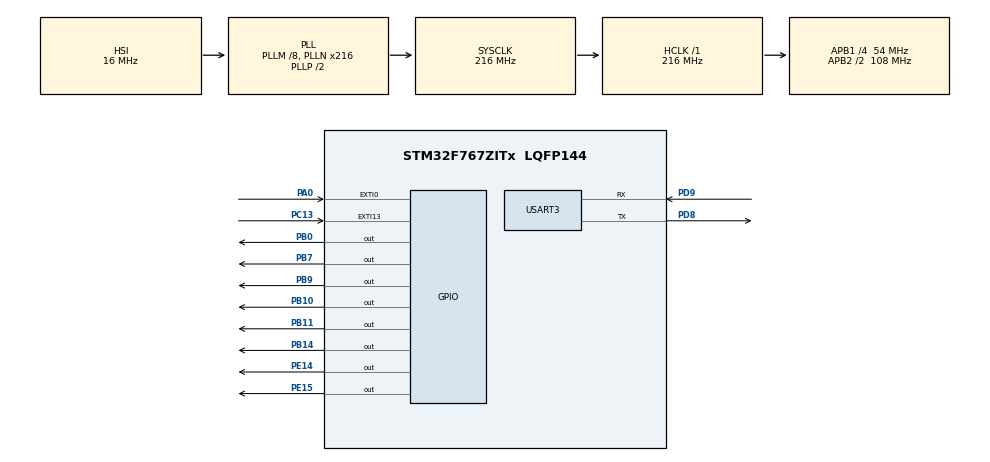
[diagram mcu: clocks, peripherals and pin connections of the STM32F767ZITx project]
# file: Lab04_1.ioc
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Mcu.Family=STM32F7
Mcu.Name=STM32F767ZITx
Mcu.Package=LQFP144
NVIC.EXTI0_IRQn=true\:2\:0\:true\:false\:true\:true\:true\:true
NVIC.EXTI15_10_IRQn=true\:2\:2\:true\:false\:true\:true\:true\:true
NVIC.PriorityGroup=NVIC_PRIORITYGROUP_2
NVIC.USART3_IRQn=true\:0\:0\:false\:false\:true\:true\:true\:true
PA0/WKUP.GPIO_ModeDefaultEXTI=GPIO_MODE_IT_RISING
PA0/WKUP.Signal=GPXTI0
PB0.PinState=GPIO_PIN_RESET
PB0.Signal=GPIO_Output
PB10.PinState=GPIO_PIN_RESET
PB10.Signal=GPIO_Output
PB11.GPIO_ModeDefaultOutputPP=GPIO_MODE_OUTPUT_PP
PB11.Signal=GPIO_Output
PB14.PinState=GPIO_PIN_RESET
PB14.Signal=GPIO_Output
PB7.PinState=GPIO_PIN_RESET
PB7.Signal=GPIO_Output
PB9.PinState=GPIO_PIN_RESET
PB9.Signal=GPIO_Output
PC13.GPIO_ModeDefaultEXTI=GPIO_MODE_IT_RISING
PC13.GPIO_PuPd=GPIO_NOPULL
PC13.Signal=GPXTI13
PD8.GPIO_ModeDefaultPP=GPIO_MODE_AF_PP
PD8.Mode=Asynchronous
PD8.Signal=USART3_TX
PD9.GPIO_Speed=GPIO_SPEED_FREQ_VERY_HIGH
PD9.Mode=Asynchronous
PD9.Signal=USART3_RX
PE14.Signal=GPIO_Output
PE15.Signal=GPIO_Output
ProjectManager.HeapSize=0x200
ProjectManager.StackSize=0x400
ProjectManager.TargetToolchain=STM32CubeIDE
RCC.AHBFreq_Value=216000000
RCC.APB1CLKDivider=RCC_HCLK_DIV4
RCC.APB1Freq_Value=54000000
RCC.APB1TimFreq_Value=108000000
RCC.APB2CLKDivider=RCC_HCLK_DIV2
RCC.APB2Freq_Value=108000000
RCC.APB2TimFreq_Value=216000000
RCC.CortexFreq_Value=216000000
RCC.HCLKFreq_Value=216000000
RCC.HSE_VALUE=25000000
RCC.HSI_VALUE=16000000
RCC.LSE_VALUE=32768
RCC.PLLM=8
RCC.PLLN=216
RCC.SYSCLKFreq_VALUE=216000000
RCC.SYSCLKSource=RCC_SYSCLKSOURCE_PLLCLK
RCC.USBFreq_Value=216000000
RCC.VCOOutputFreq_Value=432000000
USART3.VirtualMode-Asynchronous=VM_ASYNC
board=custom

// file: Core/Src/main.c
/* USER CODE BEGIN Header */
/**
 ******************************************************************************
 * @file           : main.c
 * @brief          : Main program body
 ******************************************************************************
 * @attention
 *
 * Copyright (c) 2023 STMicroelectronics.
 * All rights reserved.
 *
 * This software is licensed under terms that can be found in the LICENSE file
 * in the root directory of this software component.
 * If no LICENSE file comes with this software, it is provided AS-IS.
 *
 ******************************************************************************
 */
/* USER CODE END Header */
#include "main.h"

UART_HandleTypeDef huart3;

void SystemClock_Config(void);
static void MX_GPIO_Init(void);
static void MX_USART3_UART_Init(void);

int main(void)
{

  /* MCU Configuration--------------------------------------------------------*/

  /* Reset of all peripherals, Initializes the Flash interface and the Systick. */
  HAL_Init();

  /* Configure the system clock */
  SystemClock_Config();

  /* Initialize all configured peripherals */
  MX_GPIO_Init();
  MX_USART3_UART_Init();

  /* Infinite loop */
  /* USER CODE BEGIN WHILE */
	while (1) {
		while (__HAL_UART_GET_FLAG(&huart3, UART_FLAG_TC) == RESET) {
		}
		HAL_UART_Transmit(&huart3, (uint8_t*) ".", 1, 100);
		HAL_Delay(400);
    /* USER CODE END WHILE */

	}
}

void SystemClock_Config(void)
{
  RCC_OscInitTypeDef RCC_OscInitStruct = {0};
  RCC_ClkInitTypeDef RCC_ClkInitStruct = {0};

  /** Configure the main internal regulator output voltage
  */
  __HAL_RCC_PWR_CLK_ENABLE();
  __HAL_PWR_VOLTAGESCALING_CONFIG(PWR_REGULATOR_VOLTAGE_SCALE1);

  /** Initializes the RCC Oscillators according to the specified parameters
  * in the RCC_OscInitTypeDef structure.
  */
  RCC_OscInitStruct.OscillatorType = RCC_OSCILLATORTYPE_HSI;
  RCC_OscInitStruct.HSIState = RCC_HSI_ON;
  RCC_OscInitStruct.HSICalibrationValue = RCC_HSICALIBRATION_DEFAULT;
  RCC_OscInitStruct.PLL.PLLState = RCC_PLL_ON;
  RCC_OscInitStruct.PLL.PLLSource = RCC_PLLSOURCE_HSI;
  RCC_OscInitStruct.PLL.PLLM = 8;
  RCC_OscInitStruct.PLL.PLLN = 216;
  RCC_OscInitStruct.PLL.PLLP = RCC_PLLP_DIV2;
  RCC_OscInitStruct.PLL.PLLQ = 2;
  RCC_OscInitStruct.PLL.PLLR = 2;
  if (HAL_RCC_OscConfig(&RCC_OscInitStruct) != HAL_OK)
  {
    Error_Handler();
  }

  /** Activate the Over-Drive mode
  */
  if (HAL_PWREx_EnableOverDrive() != HAL_OK)
  {
    Error_Handler();
  }

  /** Initializes the CPU, AHB and APB buses clocks
  */
  RCC_ClkInitStruct.ClockType = RCC_CLOCKTYPE_HCLK|RCC_CLOCKTYPE_SYSCLK
                              |RCC_CLOCKTYPE_PCLK1|RCC_CLOCKTYPE_PCLK2;
  RCC_ClkInitStruct.SYSCLKSource = RCC_SYSCLKSOURCE_PLLCLK;
  RCC_ClkInitStruct.AHBCLKDivider = RCC_SYSCLK_DIV1;
  RCC_ClkInitStruct.APB1CLKDivider = RCC_HCLK_DIV4;
  RCC_ClkInitStruct.APB2CLKDivider = RCC_HCLK_DIV2;

  if (HAL_RCC_ClockConfig(&RCC_ClkInitStruct, FLASH_LATENCY_7) != HAL_OK)
  {
    Error_Handler();
  }
}

static void MX_USART3_UART_Init(void)
{

  huart3.Instance = USART3;
  huart3.Init.BaudRate = 115200;
  huart3.Init.WordLength = UART_WORDLENGTH_8B;
  huart3.Init.StopBits = UART_STOPBITS_1;
  huart3.Init.Parity = UART_PARITY_NONE;
  huart3.Init.Mode = UART_MODE_TX_RX;
  huart3.Init.HwFlowCtl = UART_HWCONTROL_NONE;
  huart3.Init.OverSampling = UART_OVERSAMPLING_16;
  huart3.Init.OneBitSampling = UART_ONE_BIT_SAMPLE_DISABLE;
  huart3.AdvancedInit.AdvFeatureInit = UART_ADVFEATURE_NO_INIT;
  if (HAL_UART_Init(&huart3) != HAL_OK)
  {
    Error_Handler();
  }

}

static void MX_GPIO_Init(void)
{
  GPIO_InitTypeDef GPIO_InitStruct = {0};

  /* GPIO Ports Clock Enable */
  __HAL_RCC_GPIOC_CLK_ENABLE();
  __HAL_RCC_GPIOA_CLK_ENABLE();
  __HAL_RCC_GPIOB_CLK_ENABLE();
  __HAL_RCC_GPIOE_CLK_ENABLE();
  __HAL_RCC_GPIOD_CLK_ENABLE();

  /*Configure GPIO pin Output Level */
  HAL_GPIO_WritePin(GPIOB, GPIO_PIN_0|GPIO_PIN_10|GPIO_PIN_11|GPIO_PIN_14
                          |GPIO_PIN_7|GPIO_PIN_9, GPIO_PIN_RESET);

  /*Configure GPIO pin Output Level */
  HAL_GPIO_WritePin(GPIOE, GPIO_PIN_14|GPIO_PIN_15, GPIO_PIN_RESET);

  /*Configure GPIO pin : PC13 */
  GPIO_InitStruct.Pin = GPIO_PIN_13;
  GPIO_InitStruct.Mode = GPIO_MODE_IT_RISING;
  GPIO_InitStruct.Pull = GPIO_NOPULL;
  HAL_GPIO_Init(GPIOC, &GPIO_InitStruct);

  /*Configure GPIO pin : PA0 */
  GPIO_InitStruct.Pin = GPIO_PIN_0;
  GPIO_InitStruct.Mode = GPIO_MODE_IT_RISING;
  GPIO_InitStruct.Pull = GPIO_NOPULL;
  HAL_GPIO_Init(GPIOA, &GPIO_InitStruct);

  /*Configure GPIO pins : PB0 PB10 PB11 PB14
                           PB7 PB9 */
  GPIO_InitStruct.Pin = GPIO_PIN_0|GPIO_PIN_10|GPIO_PIN_11|GPIO_PIN_14
                          |GPIO_PIN_7|GPIO_PIN_9;
  GPIO_InitStruct.Mode = GPIO_MODE_OUTPUT_PP;
  GPIO_InitStruct.Pull = GPIO_NOPULL;
  GPIO_InitStruct.Speed = GPIO_SPEED_FREQ_LOW;
  HAL_GPIO_Init(GPIOB, &GPIO_InitStruct);

  /*Configure GPIO pins : PE14 PE15 */
  GPIO_InitStruct.Pin = GPIO_PIN_14|GPIO_PIN_15;
  GPIO_InitStruct.Mode = GPIO_MODE_OUTPUT_PP;
  GPIO_InitStruct.Pull = GPIO_NOPULL;
  GPIO_InitStruct.Speed = GPIO_SPEED_FREQ_LOW;
  HAL_GPIO_Init(GPIOE, &GPIO_InitStruct);

  /* EXTI interrupt init*/
  HAL_NVIC_SetPriority(EXTI0_IRQn, 2, 0);
  HAL_NVIC_EnableIRQ(EXTI0_IRQn);

  HAL_NVIC_SetPriority(EXTI15_10_IRQn, 2, 2);
  HAL_NVIC_EnableIRQ(EXTI15_10_IRQn);

}

/* USER CODE BEGIN 4 */
void HAL_GPIO_EXTI_Callback(uint16_t GPIO_Pin) {
	char b = 'B'; //(1)->B,13 (2)->E,0
	char e = 'E';
	if (GPIO_Pin == GPIO_PIN_13) {
		while (__HAL_UART_GET_FLAG(&huart3, UART_FLAG_TC) == RESET) {
		}

		HAL_UART_Transmit(&huart3, (uint8_t*) "---", strlen("---"), 1000);
		HAL_Delay(200);
		for (int i = 0; i < 20; i++) {
			HAL_UART_Transmit(&huart3, (uint8_t*) &b, 1, 1000);
			HAL_Delay(200);
		}

	} else if (GPIO_Pin == GPIO_PIN_0) {
		while (__HAL_UART_GET_FLAG(&huart3, UART_FLAG_TC) == RESET) {
		}
		HAL_UART_Transmit(&huart3, (uint8_t*) "---", strlen("---"), 1000);
		HAL_Delay(200);
		for (int i = 0; i < 20; i++) {
			HAL_UART_Transmit(&huart3, (uint8_t*) &e, 1, 1000);
			HAL_Delay(200);
		}
	}
}

/* USER CODE END 4 */

void Error_Handler(void)
{
	__disable_irq();
	while (1) {
	}
}
